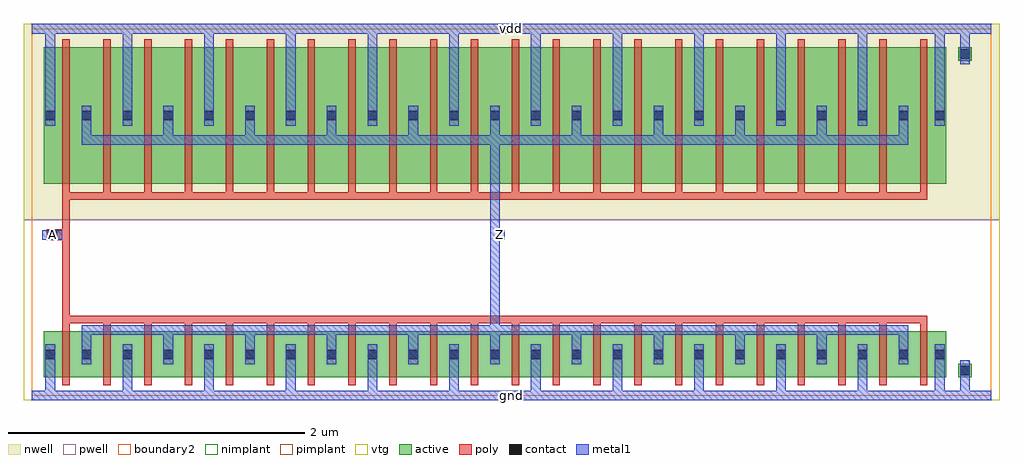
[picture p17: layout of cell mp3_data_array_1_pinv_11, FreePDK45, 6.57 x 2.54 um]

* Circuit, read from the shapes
.subckt mp3_data_array_1_pinv_11 A Z gnd vdd
M1 Z A gnd gnd nfet w=0.3075u l=0.05u m=22
M2 Z A vdd vdd pfet w=0.92u l=0.05u m=22
.ends

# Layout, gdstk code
import gdstk
lib = gdstk.Library(unit=1e-6, precision=5e-10)
def R(c, l, rs):  # rectangles x0, y0, x1, y1
    for r in rs: c.add(gdstk.rectangle(r[:2], r[2:], *l))
def A(c, l, x, y, w, h, nx, ny, dx, dy):  # array of equal rectangles
    R(c, l, [(x+i*dx, y+j*dy, x+i*dx+w, y+j*dy+h) for i in range(nx) for j in range(ny)])
active = (1, 0)
pwell = (2, 0)
nwell = (3, 0)
nimplant = (4, 0)
pimplant = (5, 0)
vtg = (6, 0)
poly = (9, 0)
contact = (10, 0)
metal1 = (11, 0)
boundary2 = (239, 0)

mp3_data_array_1_contact = lib.new_cell('mp3_data_array_1_contact_11')
R(mp3_data_array_1_contact, active, [(0,0.0225,0.09,0.1125)])
R(mp3_data_array_1_contact, nwell, [(-0.055,-0.0325,0.145,0.1675)])
R(mp3_data_array_1_contact, pimplant, [(0,0.0225,0.09,0.1125)])
R(mp3_data_array_1_contact, contact, [(0.0125,0.035,0.0775,0.1)])
R(mp3_data_array_1_contact, metal1, [(0.0125,0,0.0775,0.135)])
R(mp3_data_array_1_contact, boundary2, [(-0.055,-0.0325,0.145,0.1675)])

mp3_data_array_1_pmos_m2 = lib.new_cell('mp3_data_array_1_pmos_m22_w0_920_sm1_dm1_da_p')
R(mp3_data_array_1_pmos_m2, active, [(0,0,6.08,0.92)])
R(mp3_data_array_1_pmos_m2, nwell, [(-0.08,-0.08,6.16,1)])
R(mp3_data_array_1_pmos_m2, pimplant, [(0,0,6.08,0.92)])
R(mp3_data_array_1_pmos_m2, vtg, [(-0.08,-0.08,6.16,1)])
A(mp3_data_array_1_pmos_m2, poly, 0.1275, -0.055, 0.05, 1.03, 22, 1, 0.275, 0)
R(mp3_data_array_1_pmos_m2, poly, [(0.1275,-0.105,5.9525,-0.055)])
A(mp3_data_array_1_pmos_m2, metal1, 0.2575, 0.295, 0.065, 0.165, 11, 1, 0.55, 0)
A(mp3_data_array_1_pmos_m2, metal1, 0.5325, 0.3925, 0.065, 0.135, 10, 1, 0.55, 0)
R(mp3_data_array_1_pmos_m2, metal1, [(0.2575,0.2625,5.8225,0.3275), (0.0125,0.3925,0.0775,0.5275), (6.0025,0.3925,6.0675,0.5275)])
R(mp3_data_array_1_pmos_m2, boundary2, [(-0.08,-0.105,6.16,1)])
mp3_data_array_1_pmos_m2.add(gdstk.Reference(mp3_data_array_1_contact, (0,0.3925)))
mp3_data_array_1_pmos_m2.add(gdstk.Reference(mp3_data_array_1_contact, (0.245,0.3925)))
mp3_data_array_1_pmos_m2.add(gdstk.Reference(mp3_data_array_1_contact, (0.52,0.3925)))
mp3_data_array_1_pmos_m2.add(gdstk.Reference(mp3_data_array_1_contact, (0.795,0.3925)))
mp3_data_array_1_pmos_m2.add(gdstk.Reference(mp3_data_array_1_contact, (1.07,0.3925)))
mp3_data_array_1_pmos_m2.add(gdstk.Reference(mp3_data_array_1_contact, (1.345,0.3925)))
mp3_data_array_1_pmos_m2.add(gdstk.Reference(mp3_data_array_1_contact, (1.62,0.3925)))
mp3_data_array_1_pmos_m2.add(gdstk.Reference(mp3_data_array_1_contact, (1.895,0.3925)))
mp3_data_array_1_pmos_m2.add(gdstk.Reference(mp3_data_array_1_contact, (2.17,0.3925)))
mp3_data_array_1_pmos_m2.add(gdstk.Reference(mp3_data_array_1_contact, (2.445,0.3925)))
mp3_data_array_1_pmos_m2.add(gdstk.Reference(mp3_data_array_1_contact, (2.72,0.3925)))
mp3_data_array_1_pmos_m2.add(gdstk.Reference(mp3_data_array_1_contact, (2.995,0.3925)))
mp3_data_array_1_pmos_m2.add(gdstk.Reference(mp3_data_array_1_contact, (3.27,0.3925)))
mp3_data_array_1_pmos_m2.add(gdstk.Reference(mp3_data_array_1_contact, (3.545,0.3925)))
mp3_data_array_1_pmos_m2.add(gdstk.Reference(mp3_data_array_1_contact, (3.82,0.3925)))
mp3_data_array_1_pmos_m2.add(gdstk.Reference(mp3_data_array_1_contact, (4.095,0.3925)))
mp3_data_array_1_pmos_m2.add(gdstk.Reference(mp3_data_array_1_contact, (4.37,0.3925)))
mp3_data_array_1_pmos_m2.add(gdstk.Reference(mp3_data_array_1_contact, (4.645,0.3925)))
mp3_data_array_1_pmos_m2.add(gdstk.Reference(mp3_data_array_1_contact, (4.92,0.3925)))
mp3_data_array_1_pmos_m2.add(gdstk.Reference(mp3_data_array_1_contact, (5.195,0.3925)))
mp3_data_array_1_pmos_m2.add(gdstk.Reference(mp3_data_array_1_contact, (5.47,0.3925)))
mp3_data_array_1_pmos_m2.add(gdstk.Reference(mp3_data_array_1_contact, (5.745,0.3925)))
mp3_data_array_1_pmos_m2.add(gdstk.Reference(mp3_data_array_1_contact, (5.99,0.3925)))
mp3_data_array_1_pmos_m2.add(gdstk.Label('G', (3.04,-0.08), layer=9, texttype=0))
mp3_data_array_1_pmos_m2.add(gdstk.Label('S', (4.415,0.46), layer=11, texttype=0))
mp3_data_array_1_pmos_m2.add(gdstk.Label('S', (2.765,0.46), layer=11, texttype=0))
mp3_data_array_1_pmos_m2.add(gdstk.Label('S', (5.515,0.46), layer=11, texttype=0))
mp3_data_array_1_pmos_m2.add(gdstk.Label('S', (2.215,0.46), layer=11, texttype=0))
mp3_data_array_1_pmos_m2.add(gdstk.Label('S', (1.665,0.46), layer=11, texttype=0))
mp3_data_array_1_pmos_m2.add(gdstk.Label('S', (0.045,0.46), layer=11, texttype=0))
mp3_data_array_1_pmos_m2.add(gdstk.Label('S', (3.315,0.46), layer=11, texttype=0))
mp3_data_array_1_pmos_m2.add(gdstk.Label('S', (1.115,0.46), layer=11, texttype=0))
mp3_data_array_1_pmos_m2.add(gdstk.Label('S', (0.565,0.46), layer=11, texttype=0))
mp3_data_array_1_pmos_m2.add(gdstk.Label('S', (4.965,0.46), layer=11, texttype=0))
mp3_data_array_1_pmos_m2.add(gdstk.Label('S', (6.035,0.46), layer=11, texttype=0))
mp3_data_array_1_pmos_m2.add(gdstk.Label('S', (3.865,0.46), layer=11, texttype=0))
mp3_data_array_1_pmos_m2.add(gdstk.Label('D', (3.04,0.295), layer=11, texttype=0))

c_mp3_data_array_1_contact = lib.new_cell('mp3_data_array_1_contact_10')
R(c_mp3_data_array_1_contact, active, [(0,0.0225,0.09,0.1125)])
R(c_mp3_data_array_1_contact, pwell, [(-0.055,-0.0325,0.145,0.1675)])
R(c_mp3_data_array_1_contact, nimplant, [(0,0.0225,0.09,0.1125)])
R(c_mp3_data_array_1_contact, contact, [(0.0125,0.035,0.0775,0.1)])
R(c_mp3_data_array_1_contact, metal1, [(0.0125,0,0.0775,0.135)])
R(c_mp3_data_array_1_contact, boundary2, [(-0.055,-0.0325,0.145,0.1675)])

mp3_data_array_1_nmos_m2 = lib.new_cell('mp3_data_array_1_nmos_m22_w0_307_sm1_dm1_da_p')
R(mp3_data_array_1_nmos_m2, active, [(0,0,6.08,0.3075)])
R(mp3_data_array_1_nmos_m2, pwell, [(-0.08,-0.08,6.16,0.3875)])
R(mp3_data_array_1_nmos_m2, nimplant, [(0,0,6.08,0.3075)])
R(mp3_data_array_1_nmos_m2, vtg, [(-0.08,-0.08,6.16,0.3875)])
A(mp3_data_array_1_nmos_m2, poly, 0.1275, -0.055, 0.05, 0.4175, 22, 1, 0.275, 0)
R(mp3_data_array_1_nmos_m2, poly, [(0.1275,0.3625,5.9525,0.4125)])
A(mp3_data_array_1_nmos_m2, metal1, 0.5325, 0.085, 0.065, 0.135, 10, 1, 0.55, 0)
A(mp3_data_array_1_nmos_m2, metal1, 0.2575, 0.155, 0.065, 0.165, 11, 1, 0.55, 0)
R(mp3_data_array_1_nmos_m2, metal1, [(0.0125,0.085,0.0775,0.22), (6.0025,0.085,6.0675,0.22), (0.2575,0.285,5.8225,0.35)])
R(mp3_data_array_1_nmos_m2, boundary2, [(-0.08,-0.08,6.16,0.4125)])
mp3_data_array_1_nmos_m2.add(gdstk.Reference(c_mp3_data_array_1_contact, (0,0.085)))
mp3_data_array_1_nmos_m2.add(gdstk.Reference(c_mp3_data_array_1_contact, (0.245,0.085)))
mp3_data_array_1_nmos_m2.add(gdstk.Reference(c_mp3_data_array_1_contact, (0.52,0.085)))
mp3_data_array_1_nmos_m2.add(gdstk.Reference(c_mp3_data_array_1_contact, (0.795,0.085)))
mp3_data_array_1_nmos_m2.add(gdstk.Reference(c_mp3_data_array_1_contact, (1.07,0.085)))
mp3_data_array_1_nmos_m2.add(gdstk.Reference(c_mp3_data_array_1_contact, (1.345,0.085)))
mp3_data_array_1_nmos_m2.add(gdstk.Reference(c_mp3_data_array_1_contact, (1.62,0.085)))
mp3_data_array_1_nmos_m2.add(gdstk.Reference(c_mp3_data_array_1_contact, (1.895,0.085)))
mp3_data_array_1_nmos_m2.add(gdstk.Reference(c_mp3_data_array_1_contact, (2.17,0.085)))
mp3_data_array_1_nmos_m2.add(gdstk.Reference(c_mp3_data_array_1_contact, (2.445,0.085)))
mp3_data_array_1_nmos_m2.add(gdstk.Reference(c_mp3_data_array_1_contact, (2.72,0.085)))
mp3_data_array_1_nmos_m2.add(gdstk.Reference(c_mp3_data_array_1_contact, (2.995,0.085)))
mp3_data_array_1_nmos_m2.add(gdstk.Reference(c_mp3_data_array_1_contact, (3.27,0.085)))
mp3_data_array_1_nmos_m2.add(gdstk.Reference(c_mp3_data_array_1_contact, (3.545,0.085)))
mp3_data_array_1_nmos_m2.add(gdstk.Reference(c_mp3_data_array_1_contact, (3.82,0.085)))
mp3_data_array_1_nmos_m2.add(gdstk.Reference(c_mp3_data_array_1_contact, (4.095,0.085)))
mp3_data_array_1_nmos_m2.add(gdstk.Reference(c_mp3_data_array_1_contact, (4.37,0.085)))
mp3_data_array_1_nmos_m2.add(gdstk.Reference(c_mp3_data_array_1_contact, (4.645,0.085)))
mp3_data_array_1_nmos_m2.add(gdstk.Reference(c_mp3_data_array_1_contact, (4.92,0.085)))
mp3_data_array_1_nmos_m2.add(gdstk.Reference(c_mp3_data_array_1_contact, (5.195,0.085)))
mp3_data_array_1_nmos_m2.add(gdstk.Reference(c_mp3_data_array_1_contact, (5.47,0.085)))
mp3_data_array_1_nmos_m2.add(gdstk.Reference(c_mp3_data_array_1_contact, (5.745,0.085)))
mp3_data_array_1_nmos_m2.add(gdstk.Reference(c_mp3_data_array_1_contact, (5.99,0.085)))
mp3_data_array_1_nmos_m2.add(gdstk.Label('G', (3.04,0.3875), layer=9, texttype=0))
mp3_data_array_1_nmos_m2.add(gdstk.Label('S', (1.115,0.1525), layer=11, texttype=0))
mp3_data_array_1_nmos_m2.add(gdstk.Label('S', (1.665,0.1525), layer=11, texttype=0))
mp3_data_array_1_nmos_m2.add(gdstk.Label('S', (3.865,0.1525), layer=11, texttype=0))
mp3_data_array_1_nmos_m2.add(gdstk.Label('S', (4.415,0.1525), layer=11, texttype=0))
mp3_data_array_1_nmos_m2.add(gdstk.Label('S', (2.765,0.1525), layer=11, texttype=0))
mp3_data_array_1_nmos_m2.add(gdstk.Label('S', (0.045,0.1525), layer=11, texttype=0))
mp3_data_array_1_nmos_m2.add(gdstk.Label('S', (0.565,0.1525), layer=11, texttype=0))
mp3_data_array_1_nmos_m2.add(gdstk.Label('S', (3.315,0.1525), layer=11, texttype=0))
mp3_data_array_1_nmos_m2.add(gdstk.Label('S', (2.215,0.1525), layer=11, texttype=0))
mp3_data_array_1_nmos_m2.add(gdstk.Label('S', (5.515,0.1525), layer=11, texttype=0))
mp3_data_array_1_nmos_m2.add(gdstk.Label('S', (6.035,0.1525), layer=11, texttype=0))
mp3_data_array_1_nmos_m2.add(gdstk.Label('S', (4.965,0.1525), layer=11, texttype=0))
mp3_data_array_1_nmos_m2.add(gdstk.Label('D', (3.04,0.3175), layer=11, texttype=0))

c_mp3_data_array_1_contact_ = lib.new_cell('mp3_data_array_1_contact_12')
R(c_mp3_data_array_1_contact_, active, [(0,0.0225,0.09,0.1125)])
R(c_mp3_data_array_1_contact_, nwell, [(-0.055,-0.0325,0.145,0.1675)])
R(c_mp3_data_array_1_contact_, nimplant, [(0,0.0225,0.09,0.1125)])
R(c_mp3_data_array_1_contact_, contact, [(0.0125,0.035,0.0775,0.1)])
R(c_mp3_data_array_1_contact_, metal1, [(0.0125,0,0.0775,0.135)])
R(c_mp3_data_array_1_contact_, boundary2, [(-0.055,-0.0325,0.145,0.1675)])

c_mp3_data_array_1_contact__ = lib.new_cell('mp3_data_array_1_contact_13')
R(c_mp3_data_array_1_contact__, active, [(0,0.0225,0.09,0.1125)])
R(c_mp3_data_array_1_contact__, pwell, [(-0.055,-0.0325,0.145,0.1675)])
R(c_mp3_data_array_1_contact__, pimplant, [(0,0.0225,0.09,0.1125)])
R(c_mp3_data_array_1_contact__, contact, [(0.0125,0.035,0.0775,0.1)])
R(c_mp3_data_array_1_contact__, metal1, [(0.0125,0,0.0775,0.135)])
R(c_mp3_data_array_1_contact__, boundary2, [(-0.055,-0.0325,0.145,0.1675)])

c_mp3_data_array_1_contact___ = lib.new_cell('mp3_data_array_1_contact_14')
R(c_mp3_data_array_1_contact___, poly, [(0.03,0,0.105,0.075)])
R(c_mp3_data_array_1_contact___, contact, [(0.035,0.005,0.1,0.07)])
R(c_mp3_data_array_1_contact___, metal1, [(0,0.005,0.135,0.07)])
R(c_mp3_data_array_1_contact___, boundary2, [(0,0,0.135,0.075)])

mp3_data_array_1_pinv_11 = lib.new_cell('mp3_data_array_1_pinv_11')
R(mp3_data_array_1_pinv_11, pwell, [(-0.055,-0.0325,6.5175,1.185)])
R(mp3_data_array_1_pinv_11, nwell, [(-0.055,1.185,6.5175,2.505)])
R(mp3_data_array_1_pinv_11, vtg, [(-0.055,-0.0325,6.5175,1.185), (-0.055,1.185,6.5175,2.505)])
R(mp3_data_array_1_pinv_11, poly, [(0.2075,0.5375,0.2575,1.32), (0.14,1.045,0.2075,1.12)])
A(mp3_data_array_1_pinv_11, metal1, 0.6125, -0.0325, 0.065, 0.2425, 10, 1, 0.55, 0)
A(mp3_data_array_1_pinv_11, metal1, 0.6125, 1.8175, 0.065, 0.685, 10, 1, 0.55, 0)
R(mp3_data_array_1_pinv_11, metal1, [(0,-0.0325,6.4625,0.0325), (0.0925,-0.0325,0.1575,0.21), (6.0825,-0.0325,6.1475,0.21), (6.2525,0,6.3175,0.17), (3.0875,0.41,3.1525,1.7525), (0.0725,1.05,0.2075,1.115), (3.12,1.05,3.185,1.115), (0.0925,1.8175,0.1575,2.5025), (6.0825,1.8175,6.1475,2.5025), (6.2525,2.3,6.3175,2.47), (0,2.4375,6.4625,2.5025)])
R(mp3_data_array_1_pinv_11, boundary2, [(0,0,6.4625,2.47), (0,0,6.4625,2.47)])
mp3_data_array_1_pinv_11.add(gdstk.Reference(mp3_data_array_1_pmos_m2, (0.08,1.425)))
mp3_data_array_1_pinv_11.add(gdstk.Reference(mp3_data_array_1_nmos_m2, (0.08,0.125)))
mp3_data_array_1_pinv_11.add(gdstk.Reference(c_mp3_data_array_1_contact_, (6.24,2.2325)))
mp3_data_array_1_pinv_11.add(gdstk.Reference(c_mp3_data_array_1_contact__, (6.24,0.1025)))
mp3_data_array_1_pinv_11.add(gdstk.Reference(c_mp3_data_array_1_contact___, (0.0725,1.045)))
mp3_data_array_1_pinv_11.add(gdstk.Label('A', (0.14,1.0825), layer=11, texttype=0))
mp3_data_array_1_pinv_11.add(gdstk.Label('Z', (3.1525,1.0825), layer=11, texttype=0))
mp3_data_array_1_pinv_11.add(gdstk.Label('gnd', (3.231,0), layer=11, texttype=0))
mp3_data_array_1_pinv_11.add(gdstk.Label('vdd', (3.231,2.47), layer=11, texttype=0))

lib.write_gds('mp3_data_array_1_pinv_11.gds')
